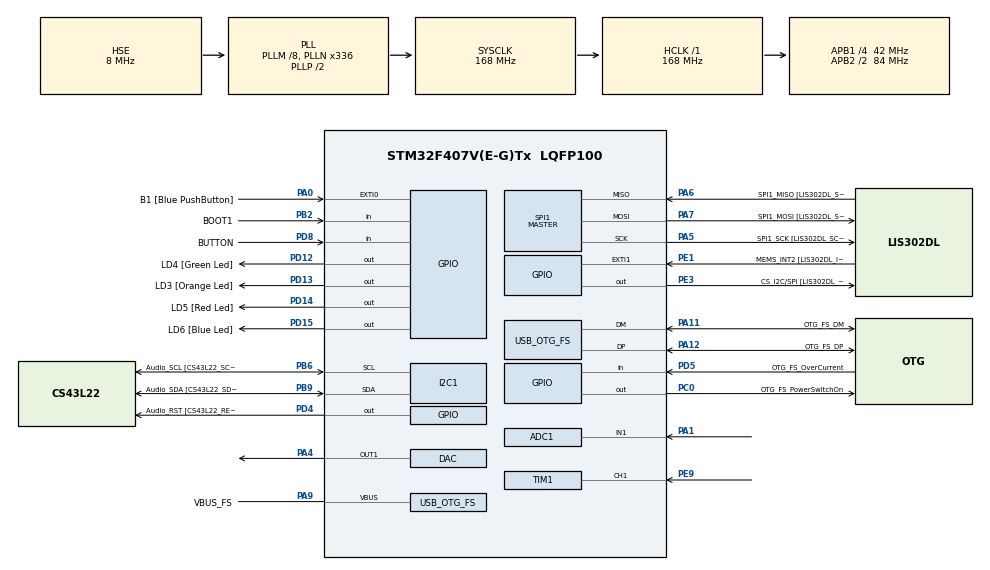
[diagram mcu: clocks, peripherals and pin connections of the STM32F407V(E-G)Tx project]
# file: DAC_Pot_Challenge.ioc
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ADC1.Channel-0\#ChannelRegularConversion=ADC_CHANNEL_1
ADC1.ClockPrescaler=ADC_CLOCK_SYNC_PCLK_DIV4
ADC1.ContinuousConvMode=ENABLE
ADC1.NbrOfConversionFlag=1
ADC1.Rank-0\#ChannelRegularConversion=1
ADC1.SamplingTime-0\#ChannelRegularConversion=ADC_SAMPLETIME_480CYCLES
ADC1.master=1
DAC.DAC_Trigger=DAC_TRIGGER_T2_TRGO
Dma.DAC1.0.Direction=DMA_MEMORY_TO_PERIPH
Dma.DAC1.0.FIFOMode=DMA_FIFOMODE_DISABLE
Dma.DAC1.0.Instance=DMA1_Stream5
Dma.DAC1.0.MemDataAlignment=DMA_MDATAALIGN_WORD
Dma.DAC1.0.MemInc=DMA_MINC_ENABLE
Dma.DAC1.0.Mode=DMA_CIRCULAR
Dma.DAC1.0.PeriphDataAlignment=DMA_PDATAALIGN_WORD
Dma.DAC1.0.PeriphInc=DMA_PINC_DISABLE
Dma.DAC1.0.Priority=DMA_PRIORITY_LOW
Dma.Request0=DAC1
Mcu.Family=STM32F4
Mcu.Name=STM32F407V(E-G)Tx
Mcu.Package=LQFP100
NVIC.ADC_IRQn=true\:0\:0\:false\:false\:true\:true\:true\:true
NVIC.DMA1_Stream5_IRQn=true\:0\:0\:false\:false\:true\:false\:true\:true
NVIC.OTG_FS_IRQn=true\:0\:0\:false\:false\:true\:true\:true\:true
NVIC.PriorityGroup=NVIC_PRIORITYGROUP_0
PA0-WKUP.GPIO_Label=B1 [Blue PushButton]
PA0-WKUP.GPIO_ModeDefaultEXTI=GPIO_MODE_EVT_RISING
PA0-WKUP.GPIO_PuPd=GPIO_NOPULL
PA0-WKUP.Signal=GPXTI0
PA1.Signal=ADCx_IN1
PA10.GPIO_Label=OTG_FS_ID
PA10.GPIO_Mode=GPIO_MODE_AF_PP
PA10.GPIO_PuPd=GPIO_NOPULL
PA10.GPIO_Speed=GPIO_SPEED_FREQ_LOW
PA10.Signal=USB_OTG_FS_ID
PA11.GPIO_Label=OTG_FS_DM
PA11.GPIO_Mode=GPIO_MODE_AF_PP
PA11.GPIO_PuPd=GPIO_NOPULL
PA11.GPIO_Speed=GPIO_SPEED_FREQ_LOW
PA11.Mode=Host_Only
PA11.Signal=USB_OTG_FS_DM
PA12.GPIO_Label=OTG_FS_DP
PA12.GPIO_Mode=GPIO_MODE_AF_PP
PA12.GPIO_PuPd=GPIO_NOPULL
PA12.GPIO_Speed=GPIO_SPEED_FREQ_LOW
PA12.Mode=Host_Only
PA12.Signal=USB_OTG_FS_DP
PA13.GPIO_Label=SWDIO
PA13.Mode=Serial_Wire
PA13.Signal=SYS_JTMS-SWDIO
PA14.GPIO_Label=SWCLK
PA14.Mode=Serial_Wire
PA14.Signal=SYS_JTCK-SWCLK
PA4.Signal=COMP_DAC1_group
PA5.GPIO_Label=SPI1_SCK [LIS302DL_SCL/SPC]
PA5.GPIO_Mode=GPIO_MODE_AF_PP
PA5.GPIO_PuPd=GPIO_NOPULL
PA5.GPIO_Speed=GPIO_SPEED_FREQ_LOW
PA5.Mode=Full_Duplex_Master
PA5.Signal=SPI1_SCK
PA6.GPIO_Label=SPI1_MISO [LIS302DL_SDO]
PA6.GPIO_Mode=GPIO_MODE_AF_PP
PA6.GPIO_PuPd=GPIO_NOPULL
PA6.GPIO_Speed=GPIO_SPEED_FREQ_LOW
PA6.Mode=Full_Duplex_Master
PA6.Signal=SPI1_MISO
PA7.GPIO_Label=SPI1_MOSI [LIS302DL_SDA/SDI/SDO]
PA7.GPIO_Mode=GPIO_MODE_AF_PP
PA7.GPIO_PuPd=GPIO_NOPULL
PA7.GPIO_Speed=GPIO_SPEED_FREQ_LOW
PA7.Mode=Full_Duplex_Master
PA7.Signal=SPI1_MOSI
PA9.GPIO_Label=VBUS_FS
PA9.GPIO_Mode=GPIO_MODE_INPUT
PA9.GPIO_PuPd=GPIO_NOPULL
PA9.Mode=Activate_VBUS
PA9.Signal=USB_OTG_FS_VBUS
PB10.GPIO_Label=CLK_IN [MP45DT02_CLK]
PB10.GPIO_Mode=GPIO_MODE_AF_PP
PB10.GPIO_PuPd=GPIO_NOPULL
PB10.GPIO_Speed=GPIO_SPEED_FREQ_LOW
PB10.Signal=I2S2_CK
PB2.GPIO_Label=BOOT1
PB2.GPIO_Mode=GPIO_MODE_INPUT
PB2.GPIO_PuPd=GPIO_NOPULL
PB2.Signal=GPIO_Input
PB3.GPIO_Label=SWO
PB3.Signal=SYS_JTDO-SWO
PB6.GPIO_Label=Audio_SCL [CS43L22_SCL]
PB6.GPIO_Mode=GPIO_MODE_AF_OD
PB6.GPIO_Pu=GPIO_PULLUP
PB6.GPIO_PuPd=GPIO_NOPULL
PB6.GPIO_Speed=GPIO_SPEED_FREQ_LOW
PB6.Mode=I2C
PB6.Signal=I2C1_SCL
PB9.GPIO_Label=Audio_SDA [CS43L22_SDA]
PB9.GPIO_Mode=GPIO_MODE_AF_OD
PB9.GPIO_Pu=GPIO_PULLUP
PB9.GPIO_PuPd=GPIO_NOPULL
PB9.GPIO_Speed=GPIO_SPEED_FREQ_LOW
PB9.Mode=I2C
PB9.Signal=I2C1_SDA
PC0.GPIO_Label=OTG_FS_PowerSwitchOn
PC0.GPIO_PuPd=GPIO_NOPULL
PC0.GPIO_Speed=GPIO_SPEED_FREQ_LOW
PC0.PinState=GPIO_PIN_SET
PC0.Signal=GPIO_Output
PC10.GPIO_Label=I2S3_SCK [CS43L22_SCLK]
PC10.GPIO_Mode=GPIO_MODE_AF_PP
PC10.GPIO_PuPd=GPIO_NOPULL
PC10.GPIO_Speed=GPIO_SPEED_FREQ_LOW
PC10.Signal=I2S3_CK
PC12.GPIO_Label=I2S3_SD [CS43L22_SDIN]
PC12.GPIO_Mode=GPIO_MODE_AF_PP
PC12.GPIO_PuPd=GPIO_NOPULL
PC12.GPIO_Speed=GPIO_SPEED_FREQ_LOW
PC12.Signal=I2S3_SD
PC14-OSC32_IN.GPIO_Label=PC14-OSC32_IN
PC14-OSC32_IN.Mode=LSE-External-Oscillator
PC14-OSC32_IN.Signal=RCC_OSC32_IN
PC15-OSC32_OUT.GPIO_Label=PC15-OSC32_OUT
PC15-OSC32_OUT.Mode=LSE-External-Oscillator
PC15-OSC32_OUT.Signal=RCC_OSC32_OUT
PC3.GPIO_Label=PDM_OUT [MP45DT02_DOUT]
PC3.GPIO_Mode=GPIO_MODE_AF_PP
PC3.GPIO_PuPd=GPIO_NOPULL
PC3.GPIO_Speed=GPIO_SPEED_FREQ_LOW
PC3.Signal=I2S2_SD
PC7.GPIO_Label=I2S3_MCK [CS43L22_MCLK]
PC7.GPIO_Mode=GPIO_MODE_AF_PP
PC7.GPIO_PuPd=GPIO_NOPULL
PC7.GPIO_Speed=GPIO_SPEED_FREQ_LOW
PC7.Signal=I2S3_MCK
PD12.GPIO_Label=LD4 [Green Led]
PD12.GPIO_PuPd=GPIO_NOPULL
PD12.GPIO_Speed=GPIO_SPEED_FREQ_LOW
PD12.Signal=GPIO_Output
PD13.GPIO_Label=LD3 [Orange Led]
PD13.GPIO_PuPd=GPIO_NOPULL
PD13.GPIO_Speed=GPIO_SPEED_FREQ_LOW
PD13.Signal=GPIO_Output
PD14.GPIO_Label=LD5 [Red Led]
PD14.GPIO_PuPd=GPIO_NOPULL
PD14.GPIO_Speed=GPIO_SPEED_FREQ_LOW
PD14.Signal=GPIO_Output
PD15.GPIO_Label=LD6 [Blue Led]
PD15.GPIO_PuPd=GPIO_NOPULL
PD15.GPIO_Speed=GPIO_SPEED_FREQ_LOW
PD15.Signal=GPIO_Output
PD4.GPIO_Label=Audio_RST [CS43L22_RESET]
PD4.GPIO_PuPd=GPIO_NOPULL
PD4.GPIO_Speed=GPIO_SPEED_FREQ_LOW
PD4.Signal=GPIO_Output
PD5.GPIO_Label=OTG_FS_OverCurrent
PD5.GPIO_Mode=GPIO_MODE_INPUT
PD5.GPIO_PuPd=GPIO_NOPULL
PD5.Signal=GPIO_Input
PD8.GPIO_Label=BUTTON
PD8.GPIO_PuPd=GPIO_PULLDOWN
PD8.Signal=GPIO_Input
PE1.GPIO_Label=MEMS_INT2 [LIS302DL_INT2]
PE1.GPIO_ModeDefaultEXTI=GPIO_MODE_EVT_RISING
PE1.GPIO_PuPd=GPIO_NOPULL
PE1.Signal=GPXTI1
PE3.GPIO_Label=CS_I2C/SPI [LIS302DL_CS_I2C/SPI]
PE3.GPIO_PuPd=GPIO_NOPULL
PE3.GPIO_Speed=GPIO_SPEED_FREQ_LOW
PE3.Signal=GPIO_Output
PE9.Signal=S_TIM1_CH1
PH0-OSC_IN.GPIO_Label=PH0-OSC_IN
PH0-OSC_IN.Mode=HSE-External-Oscillator
PH0-OSC_IN.Signal=RCC_OSC_IN
PH1-OSC_OUT.GPIO_Label=PH1-OSC_OUT
PH1-OSC_OUT.Mode=HSE-External-Oscillator
PH1-OSC_OUT.Signal=RCC_OSC_OUT
ProjectManager.HeapSize=0x200
ProjectManager.StackSize=0x400
ProjectManager.TargetToolchain=STM32CubeIDE
RCC.48MHZClocksFreq_Value=48000000
RCC.AHBFreq_Value=168000000
RCC.APB1CLKDivider=RCC_HCLK_DIV4
RCC.APB1Freq_Value=42000000
RCC.APB1TimFreq_Value=84000000
RCC.APB2CLKDivider=RCC_HCLK_DIV2
RCC.APB2Freq_Value=84000000
RCC.APB2TimFreq_Value=168000000
RCC.CortexFreq_Value=168000000
RCC.HCLKFreq_Value=168000000
RCC.HSE_VALUE=8000000
RCC.HSI_VALUE=16000000
RCC.PLLM=8
RCC.PLLN=336
RCC.PLLQ=7
RCC.SYSCLKFreq_VALUE=168000000
RCC.SYSCLKSource=RCC_SYSCLKSOURCE_PLLCLK
RCC.VCOOutputFreq_Value=336000000
SH.ADCx_IN1.0=ADC1_IN1,IN1
SH.COMP_DAC1_group.0=DAC_OUT1,DAC_OUT1
SH.S_TIM1_CH1.0=TIM1_CH1,Input_Capture1_from_TI1
SPI1.BaudRatePrescaler-Full_Duplex_Master=SPI_BAUDRATEPRESCALER_2
SPI1.CalculateBaudRate-Full_Duplex_Master=42.0 MBits/s
SPI1.Direction=SPI_DIRECTION_2LINES
SPI1.Mode=SPI_MODE_MASTER
SPI1.Mode-Full_Duplex_Master=SPI_MODE_MASTER
SPI1.VirtualType=VM_MASTER
TIM1.Channel-Input_Capture1_from_TI1=TIM_CHANNEL_1
TIM2.Period=100-1
TIM2.Prescaler=84-1
TIM2.TIM_MasterOutputTrigger=TIM_TRGO_UPDATE
USB_HOST.BSP.number=1
USB_HOST.USBH_HandleTypeDef-CDC_FS=hUsbHostFS
USB_HOST.VirtualModeFS=Cdc
USB_HOST0.BSP.STBoard=false
USB_HOST0.BSP.api=Unknown
USB_HOST0.BSP.instance=PC0
USB_HOST0.BSP.ip=GPIO
USB_HOST0.BSP.mode=Output
USB_HOST0.BSP.name=Drive_VBUS_FS
USB_HOST0.BSP.solution=PC0
USB_OTG_FS.VirtualMode=Host_Only
USB_OTG_FS.phy_itface=HCD_PHY_EMBEDDED
VP_TIM2_VS_ClockSourceINT.Mode=Internal
VP_USB_HOST_VS_USB_HOST_CDC_FS.Mode=CDC_FS
board=STM32F407G-DISC1

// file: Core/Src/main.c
/* USER CODE BEGIN Header */
/**
  ******************************************************************************
  * @file           : main.c
  * @brief          : Main program body
  ******************************************************************************
  * @attention
  *
  * Copyright (c) 2025 STMicroelectronics.
  * All rights reserved.
  *
  * This software is licensed under terms that can be found in the LICENSE file
  * in the root directory of this software component.
  * If no LICENSE file comes with this software, it is provided AS-IS.
  *
  ******************************************************************************
  */
/* USER CODE END Header */
#include "main.h"
#include "usb_host.h"

/* USER CODE BEGIN Includes */
#include "math.h"
/* USER CODE END Includes */

ADC_HandleTypeDef hadc1;

DAC_HandleTypeDef hdac;
DMA_HandleTypeDef hdma_dac1;

I2C_HandleTypeDef hi2c1;

SPI_HandleTypeDef hspi1;

TIM_HandleTypeDef htim1;
TIM_HandleTypeDef htim2;

/* USER CODE BEGIN PV */
#define PI 3.1415926535
#define NUM_POINTS 100
uint32_t gSine_Values[NUM_POINTS];
uint32_t gADC_Value = 0;
uint32_t gARR_Value = 0;
/* USER CODE END PV */

void SystemClock_Config(void);
static void MX_GPIO_Init(void);
static void MX_DMA_Init(void);
static void MX_I2C1_Init(void);
static void MX_SPI1_Init(void);
static void MX_TIM1_Init(void);
static void MX_DAC_Init(void);
static void MX_TIM2_Init(void);
static void MX_ADC1_Init(void);
void MX_USB_HOST_Process(void);

/* USER CODE BEGIN 0 */
void get_SineVal() {
	for(int i = 0; i < NUM_POINTS; i++) {
		gSine_Values[i] = ((sin(i*2*PI/NUM_POINTS) + 1) *(4096/3.3));
	}
}
long map(long x, long in_min, long in_max, long out_min, long out_max) {
	return (x - in_min) * (out_max - out_min + 1) / (in_max - in_min + 1) + out_min;
}
/* USER CODE END 0 */

int main(void)
{

  /* MCU Configuration--------------------------------------------------------*/

  /* Reset of all peripherals, Initializes the Flash interface and the Systick. */
  HAL_Init();

  /* Configure the system clock */
  SystemClock_Config();

  /* Initialize all configured peripherals */
  MX_GPIO_Init();
  MX_DMA_Init();
  MX_I2C1_Init();
  MX_SPI1_Init();
  MX_USB_HOST_Init();
  MX_TIM1_Init();
  MX_DAC_Init();
  MX_TIM2_Init();
  MX_ADC1_Init();
  /* USER CODE BEGIN 2 */
  HAL_TIM_Base_Start(&htim2);

  HAL_ADC_Start_IT(&hadc1);

  get_SineVal();

  HAL_DAC_Start_DMA(&hdac, DAC_CHANNEL_1, gSine_Values, NUM_POINTS, DAC_ALIGN_12B_R);
  /* USER CODE END 2 */

  /* Infinite loop */
  /* USER CODE BEGIN WHILE */
  while (1)
  {
	HAL_TIM_Base_Stop(&htim2);
	__HAL_TIM_SET_AUTORELOAD(&htim2, gARR_Value);
	__HAL_TIM_SET_COUNTER(&htim2, 0);
	TIM2->EGR = TIM_EGR_UG;
	HAL_TIM_Base_Start(&htim2);

	HAL_Delay(100);
    /* USER CODE END WHILE */
    MX_USB_HOST_Process();

  }
}

void SystemClock_Config(void)
{
  RCC_OscInitTypeDef RCC_OscInitStruct = {0};
  RCC_ClkInitTypeDef RCC_ClkInitStruct = {0};

  /** Configure the main internal regulator output voltage
  */
  __HAL_RCC_PWR_CLK_ENABLE();
  __HAL_PWR_VOLTAGESCALING_CONFIG(PWR_REGULATOR_VOLTAGE_SCALE1);

  /** Initializes the RCC Oscillators according to the specified parameters
  * in the RCC_OscInitTypeDef structure.
  */
  RCC_OscInitStruct.OscillatorType = RCC_OSCILLATORTYPE_HSE;
  RCC_OscInitStruct.HSEState = RCC_HSE_ON;
  RCC_OscInitStruct.PLL.PLLState = RCC_PLL_ON;
  RCC_OscInitStruct.PLL.PLLSource = RCC_PLLSOURCE_HSE;
  RCC_OscInitStruct.PLL.PLLM = 8;
  RCC_OscInitStruct.PLL.PLLN = 336;
  RCC_OscInitStruct.PLL.PLLP = RCC_PLLP_DIV2;
  RCC_OscInitStruct.PLL.PLLQ = 7;
  if (HAL_RCC_OscConfig(&RCC_OscInitStruct) != HAL_OK)
  {
    Error_Handler();
  }

  /** Initializes the CPU, AHB and APB buses clocks
  */
  RCC_ClkInitStruct.ClockType = RCC_CLOCKTYPE_HCLK|RCC_CLOCKTYPE_SYSCLK
                              |RCC_CLOCKTYPE_PCLK1|RCC_CLOCKTYPE_PCLK2;
  RCC_ClkInitStruct.SYSCLKSource = RCC_SYSCLKSOURCE_PLLCLK;
  RCC_ClkInitStruct.AHBCLKDivider = RCC_SYSCLK_DIV1;
  RCC_ClkInitStruct.APB1CLKDivider = RCC_HCLK_DIV4;
  RCC_ClkInitStruct.APB2CLKDivider = RCC_HCLK_DIV2;

  if (HAL_RCC_ClockConfig(&RCC_ClkInitStruct, FLASH_LATENCY_5) != HAL_OK)
  {
    Error_Handler();
  }
}

static void MX_ADC1_Init(void)
{

  ADC_ChannelConfTypeDef sConfig = {0};

  /** Configure the global features of the ADC (Clock, Resolution, Data Alignment and number of conversion)
  */
  hadc1.Instance = ADC1;
  hadc1.Init.ClockPrescaler = ADC_CLOCK_SYNC_PCLK_DIV4;
  hadc1.Init.Resolution = ADC_RESOLUTION_12B;
  hadc1.Init.ScanConvMode = DISABLE;
  hadc1.Init.ContinuousConvMode = ENABLE;
  hadc1.Init.DiscontinuousConvMode = DISABLE;
  hadc1.Init.ExternalTrigConvEdge = ADC_EXTERNALTRIGCONVEDGE_NONE;
  hadc1.Init.ExternalTrigConv = ADC_SOFTWARE_START;
  hadc1.Init.DataAlign = ADC_DATAALIGN_RIGHT;
  hadc1.Init.NbrOfConversion = 1;
  hadc1.Init.DMAContinuousRequests = DISABLE;
  hadc1.Init.EOCSelection = ADC_EOC_SINGLE_CONV;
  if (HAL_ADC_Init(&hadc1) != HAL_OK)
  {
    Error_Handler();
  }

  /** Configure for the selected ADC regular channel its corresponding rank in the sequencer and its sample time.
  */
  sConfig.Channel = ADC_CHANNEL_1;
  sConfig.Rank = 1;
  sConfig.SamplingTime = ADC_SAMPLETIME_480CYCLES;
  if (HAL_ADC_ConfigChannel(&hadc1, &sConfig) != HAL_OK)
  {
    Error_Handler();
  }

}

static void MX_DAC_Init(void)
{

  DAC_ChannelConfTypeDef sConfig = {0};

  /** DAC Initialization
  */
  hdac.Instance = DAC;
  if (HAL_DAC_Init(&hdac) != HAL_OK)
  {
    Error_Handler();
  }

  /** DAC channel OUT1 config
  */
  sConfig.DAC_Trigger = DAC_TRIGGER_T2_TRGO;
  sConfig.DAC_OutputBuffer = DAC_OUTPUTBUFFER_ENABLE;
  if (HAL_DAC_ConfigChannel(&hdac, &sConfig, DAC_CHANNEL_1) != HAL_OK)
  {
    Error_Handler();
  }

}

static void MX_I2C1_Init(void)
{

  hi2c1.Instance = I2C1;
  hi2c1.Init.ClockSpeed = 100000;
  hi2c1.Init.DutyCycle = I2C_DUTYCYCLE_2;
  hi2c1.Init.OwnAddress1 = 0;
  hi2c1.Init.AddressingMode = I2C_ADDRESSINGMODE_7BIT;
  hi2c1.Init.DualAddressMode = I2C_DUALADDRESS_DISABLE;
  hi2c1.Init.OwnAddress2 = 0;
  hi2c1.Init.GeneralCallMode = I2C_GENERALCALL_DISABLE;
  hi2c1.Init.NoStretchMode = I2C_NOSTRETCH_DISABLE;
  if (HAL_I2C_Init(&hi2c1) != HAL_OK)
  {
    Error_Handler();
  }

}

static void MX_SPI1_Init(void)
{

  /* SPI1 parameter configuration*/
  hspi1.Instance = SPI1;
  hspi1.Init.Mode = SPI_MODE_MASTER;
  hspi1.Init.Direction = SPI_DIRECTION_2LINES;
  hspi1.Init.DataSize = SPI_DATASIZE_8BIT;
  hspi1.Init.CLKPolarity = SPI_POLARITY_LOW;
  hspi1.Init.CLKPhase = SPI_PHASE_1EDGE;
  hspi1.Init.NSS = SPI_NSS_SOFT;
  hspi1.Init.BaudRatePrescaler = SPI_BAUDRATEPRESCALER_2;
  hspi1.Init.FirstBit = SPI_FIRSTBIT_MSB;
  hspi1.Init.TIMode = SPI_TIMODE_DISABLE;
  hspi1.Init.CRCCalculation = SPI_CRCCALCULATION_DISABLE;
  hspi1.Init.CRCPolynomial = 10;
  if (HAL_SPI_Init(&hspi1) != HAL_OK)
  {
    Error_Handler();
  }

}

static void MX_TIM1_Init(void)
{

  TIM_MasterConfigTypeDef sMasterConfig = {0};
  TIM_IC_InitTypeDef sConfigIC = {0};

  htim1.Instance = TIM1;
  htim1.Init.Prescaler = 0;
  htim1.Init.CounterMode = TIM_COUNTERMODE_UP;
  htim1.Init.Period = 65535;
  htim1.Init.ClockDivision = TIM_CLOCKDIVISION_DIV1;
  htim1.Init.RepetitionCounter = 0;
  htim1.Init.AutoReloadPreload = TIM_AUTORELOAD_PRELOAD_DISABLE;
  if (HAL_TIM_IC_Init(&htim1) != HAL_OK)
  {
    Error_Handler();
  }
  sMasterConfig.MasterOutputTrigger = TIM_TRGO_RESET;
  sMasterConfig.MasterSlaveMode = TIM_MASTERSLAVEMODE_DISABLE;
  if (HAL_TIMEx_MasterConfigSynchronization(&htim1, &sMasterConfig) != HAL_OK)
  {
    Error_Handler();
  }
  sConfigIC.ICPolarity = TIM_INPUTCHANNELPOLARITY_RISING;
  sConfigIC.ICSelection = TIM_ICSELECTION_DIRECTTI;
  sConfigIC.ICPrescaler = TIM_ICPSC_DIV1;
  sConfigIC.ICFilter = 0;
  if (HAL_TIM_IC_ConfigChannel(&htim1, &sConfigIC, TIM_CHANNEL_1) != HAL_OK)
  {
    Error_Handler();
  }

}

static void MX_TIM2_Init(void)
{

  TIM_ClockConfigTypeDef sClockSourceConfig = {0};
  TIM_MasterConfigTypeDef sMasterConfig = {0};

  htim2.Instance = TIM2;
  htim2.Init.Prescaler = 84-1;
  htim2.Init.CounterMode = TIM_COUNTERMODE_UP;
  htim2.Init.Period = 100-1;
  htim2.Init.ClockDivision = TIM_CLOCKDIVISION_DIV1;
  htim2.Init.AutoReloadPreload = TIM_AUTORELOAD_PRELOAD_DISABLE;
  if (HAL_TIM_Base_Init(&htim2) != HAL_OK)
  {
    Error_Handler();
  }
  sClockSourceConfig.ClockSource = TIM_CLOCKSOURCE_INTERNAL;
  if (HAL_TIM_ConfigClockSource(&htim2, &sClockSourceConfig) != HAL_OK)
  {
    Error_Handler();
  }
  sMasterConfig.MasterOutputTrigger = TIM_TRGO_UPDATE;
  sMasterConfig.MasterSlaveMode = TIM_MASTERSLAVEMODE_DISABLE;
  if (HAL_TIMEx_MasterConfigSynchronization(&htim2, &sMasterConfig) != HAL_OK)
  {
    Error_Handler();
  }

}

static void MX_DMA_Init(void)
{

  /* DMA controller clock enable */
  __HAL_RCC_DMA1_CLK_ENABLE();

  /* DMA interrupt init */
  /* DMA1_Stream5_IRQn interrupt configuration */
  HAL_NVIC_SetPriority(DMA1_Stream5_IRQn, 0, 0);
  HAL_NVIC_EnableIRQ(DMA1_Stream5_IRQn);

}

static void MX_GPIO_Init(void)
{
  GPIO_InitTypeDef GPIO_InitStruct = {0};

  /* GPIO Ports Clock Enable */
  __HAL_RCC_GPIOE_CLK_ENABLE();
  __HAL_RCC_GPIOC_CLK_ENABLE();
  __HAL_RCC_GPIOH_CLK_ENABLE();
  __HAL_RCC_GPIOA_CLK_ENABLE();
  __HAL_RCC_GPIOB_CLK_ENABLE();
  __HAL_RCC_GPIOD_CLK_ENABLE();

  /*Configure GPIO pin Output Level */
  HAL_GPIO_WritePin(CS_I2C_SPI_GPIO_Port, CS_I2C_SPI_Pin, GPIO_PIN_RESET);

  /*Configure GPIO pin Output Level */
  HAL_GPIO_WritePin(OTG_FS_PowerSwitchOn_GPIO_Port, OTG_FS_PowerSwitchOn_Pin, GPIO_PIN_SET);

  /*Configure GPIO pin Output Level */
  HAL_GPIO_WritePin(GPIOD, LD4_Pin|LD3_Pin|LD5_Pin|LD6_Pin
                          |Audio_RST_Pin, GPIO_PIN_RESET);

  /*Configure GPIO pin : CS_I2C_SPI_Pin */
  GPIO_InitStruct.Pin = CS_I2C_SPI_Pin;
  GPIO_InitStruct.Mode = GPIO_MODE_OUTPUT_PP;
  GPIO_InitStruct.Pull = GPIO_NOPULL;
  GPIO_InitStruct.Speed = GPIO_SPEED_FREQ_LOW;
  HAL_GPIO_Init(CS_I2C_SPI_GPIO_Port, &GPIO_InitStruct);

  /*Configure GPIO pin : OTG_FS_PowerSwitchOn_Pin */
  GPIO_InitStruct.Pin = OTG_FS_PowerSwitchOn_Pin;
  GPIO_InitStruct.Mode = GPIO_MODE_OUTPUT_PP;
  GPIO_InitStruct.Pull = GPIO_NOPULL;
  GPIO_InitStruct.Speed = GPIO_SPEED_FREQ_LOW;
  HAL_GPIO_Init(OTG_FS_PowerSwitchOn_GPIO_Port, &GPIO_InitStruct);

  /*Configure GPIO pin : PDM_OUT_Pin */
  GPIO_InitStruct.Pin = PDM_OUT_Pin;
  GPIO_InitStruct.Mode = GPIO_MODE_AF_PP;
  GPIO_InitStruct.Pull = GPIO_NOPULL;
  GPIO_InitStruct.Speed = GPIO_SPEED_FREQ_LOW;
  GPIO_InitStruct.Alternate = GPIO_AF5_SPI2;
  HAL_GPIO_Init(PDM_OUT_GPIO_Port, &GPIO_InitStruct);

  /*Configure GPIO pin : B1_Pin */
  GPIO_InitStruct.Pin = B1_Pin;
  GPIO_InitStruct.Mode = GPIO_MODE_EVT_RISING;
  GPIO_InitStruct.Pull = GPIO_NOPULL;
  HAL_GPIO_Init(B1_GPIO_Port, &GPIO_InitStruct);

  /*Configure GPIO pin : BOOT1_Pin */
  GPIO_InitStruct.Pin = BOOT1_Pin;
  GPIO_InitStruct.Mode = GPIO_MODE_INPUT;
  GPIO_InitStruct.Pull = GPIO_NOPULL;
  HAL_GPIO_Init(BOOT1_GPIO_Port, &GPIO_InitStruct);

  /*Configure GPIO pin : CLK_IN_Pin */
  GPIO_InitStruct.Pin = CLK_IN_Pin;
  GPIO_InitStruct.Mode = GPIO_MODE_AF_PP;
  GPIO_InitStruct.Pull = GPIO_NOPULL;
  GPIO_InitStruct.Speed = GPIO_SPEED_FREQ_LOW;
  GPIO_InitStruct.Alternate = GPIO_AF5_SPI2;
  HAL_GPIO_Init(CLK_IN_GPIO_Port, &GPIO_InitStruct);

  /*Configure GPIO pin : BUTTON_Pin */
  GPIO_InitStruct.Pin = BUTTON_Pin;
  GPIO_InitStruct.Mode = GPIO_MODE_INPUT;
  GPIO_InitStruct.Pull = GPIO_PULLDOWN;
  HAL_GPIO_Init(BUTTON_GPIO_Port, &GPIO_InitStruct);

  /*Configure GPIO pins : LD4_Pin LD3_Pin LD5_Pin LD6_Pin
                           Audio_RST_Pin */
  GPIO_InitStruct.Pin = LD4_Pin|LD3_Pin|LD5_Pin|LD6_Pin
                          |Audio_RST_Pin;
  GPIO_InitStruct.Mode = GPIO_MODE_OUTPUT_PP;
  GPIO_InitStruct.Pull = GPIO_NOPULL;
  GPIO_InitStruct.Speed = GPIO_SPEED_FREQ_LOW;
  HAL_GPIO_Init(GPIOD, &GPIO_InitStruct);

  /*Configure GPIO pins : I2S3_MCK_Pin I2S3_SCK_Pin I2S3_SD_Pin */
  GPIO_InitStruct.Pin = I2S3_MCK_Pin|I2S3_SCK_Pin|I2S3_SD_Pin;
  GPIO_InitStruct.Mode = GPIO_MODE_AF_PP;
  GPIO_InitStruct.Pull = GPIO_NOPULL;
  GPIO_InitStruct.Speed = GPIO_SPEED_FREQ_LOW;
  GPIO_InitStruct.Alternate = GPIO_AF6_SPI3;
  HAL_GPIO_Init(GPIOC, &GPIO_InitStruct);

  /*Configure GPIO pin : OTG_FS_OverCurrent_Pin */
  GPIO_InitStruct.Pin = OTG_FS_OverCurrent_Pin;
  GPIO_InitStruct.Mode = GPIO_MODE_INPUT;
  GPIO_InitStruct.Pull = GPIO_NOPULL;
  HAL_GPIO_Init(OTG_FS_OverCurrent_GPIO_Port, &GPIO_InitStruct);

  /*Configure GPIO pin : MEMS_INT2_Pin */
  GPIO_InitStruct.Pin = MEMS_INT2_Pin;
  GPIO_InitStruct.Mode = GPIO_MODE_EVT_RISING;
  GPIO_InitStruct.Pull = GPIO_NOPULL;
  HAL_GPIO_Init(MEMS_INT2_GPIO_Port, &GPIO_InitStruct);

}

/* USER CODE BEGIN 4 */
void HAL_ADC_ConvCpltCallback(ADC_HandleTypeDef *hadc) {
	gADC_Value = HAL_ADC_GetValue(hadc);
	gARR_Value = map(gADC_Value, 0, 4096, 50, 600);

}
/* USER CODE END 4 */

void Error_Handler(void)
{
  __disable_irq();
  while (1)
  {
  }
}
